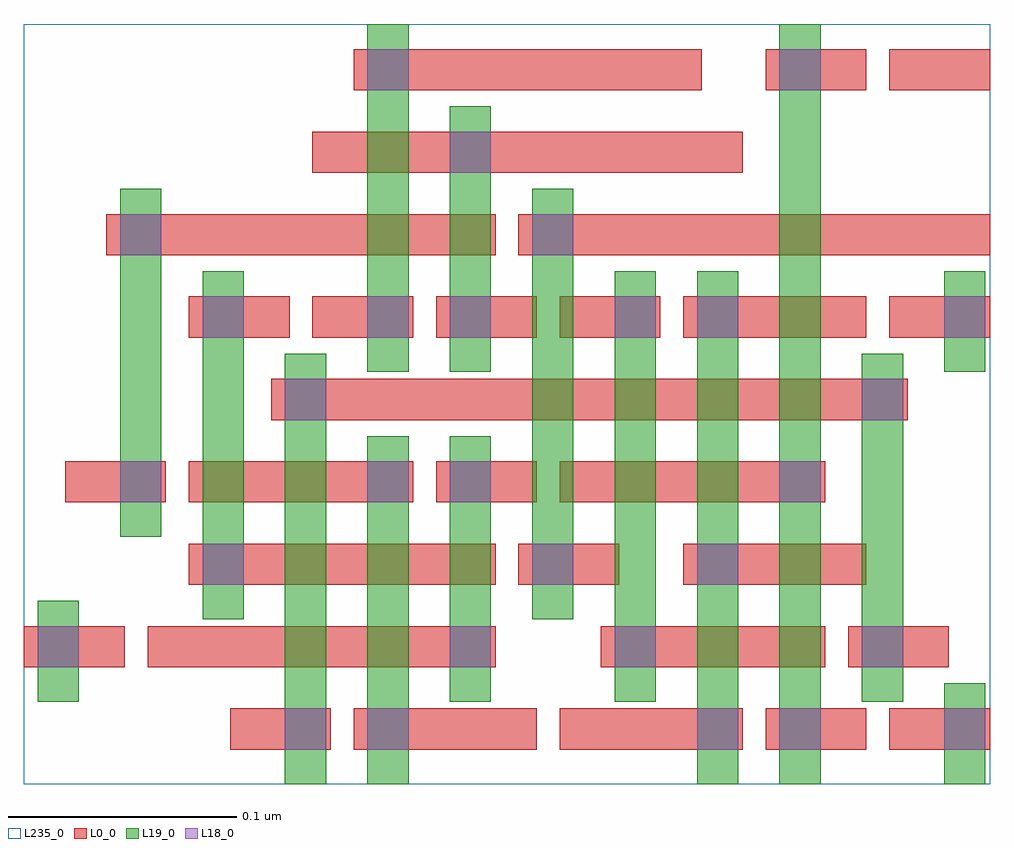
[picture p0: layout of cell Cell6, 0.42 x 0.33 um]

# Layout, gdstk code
import gdstk
lib = gdstk.Library(unit=1e-6, precision=2.5e-10)
def R(c, l, rs):  # rectangles x0, y0, x1, y1
    for r in rs: c.add(gdstk.rectangle(r[:2], r[2:], *l))
def A(c, l, x, y, w, h, nx, ny, dx, dy):  # array of equal rectangles
    R(c, l, [(x+i*dx, y+j*dy, x+i*dx+w, y+j*dy+h) for i in range(nx) for j in range(ny)])
L0_0 = (0, 0)
L18_0 = (18, 0)
L19_0 = (19, 0)
L235_0 = (235, 0)

cell6 = lib.new_cell('Cell6')
A(cell6, L0_0, 0.076, 0.179, 0.044, 0.018, 4, 1, 0.054, 0)
R(cell6, L0_0, [(0.094,-0.001,0.138,0.017), (0.148,-0.001,0.228,0.017), (0.238,-0.001,0.318,0.017), (0.328,-0.001,0.372,0.017), (0.382,-0.001,0.426,0.017), (0.004,0.035,0.048,0.053), (0.058,0.035,0.21,0.053), (0.256,0.035,0.354,0.053), (0.364,0.035,0.408,0.053), (0.076,0.071,0.21,0.089), (0.22,0.071,0.264,0.089), (0.292,0.071,0.372,0.089), (0.022,0.107,0.066,0.125), (0.076,0.107,0.174,0.125), (0.184,0.107,0.228,0.125), (0.238,0.107,0.354,0.125), (0.112,0.143,0.39,0.161), (0.292,0.179,0.372,0.197), (0.382,0.179,0.426,0.197), (0.04,0.215,0.21,0.233), (0.22,0.215,0.426,0.233), (0.13,0.251,0.318,0.269), (0.148,0.287,0.3,0.305), (0.328,0.287,0.372,0.305), (0.382,0.287,0.426,0.305)])
A(cell6, L18_0, 0.19, 0.035, 0.018, 0.018, 1, 4, 0, 0.072)
R(cell6, L18_0, [(0.118,-0.001,0.136,0.017), (0.154,-0.001,0.172,0.017), (0.298,-0.001,0.316,0.017), (0.334,-0.001,0.352,0.017), (0.406,-0.001,0.424,0.017), (0.01,0.035,0.028,0.053), (0.262,0.035,0.28,0.053), (0.37,0.035,0.388,0.053), (0.082,0.071,0.1,0.089), (0.226,0.071,0.244,0.089), (0.298,0.071,0.316,0.089), (0.046,0.107,0.064,0.125), (0.154,0.107,0.172,0.125), (0.334,0.107,0.352,0.125), (0.118,0.143,0.136,0.161), (0.37,0.143,0.388,0.161), (0.082,0.179,0.1,0.197), (0.154,0.179,0.172,0.197), (0.262,0.179,0.28,0.197), (0.298,0.179,0.316,0.197), (0.406,0.179,0.424,0.197), (0.046,0.215,0.064,0.233), (0.226,0.215,0.244,0.233), (0.154,0.287,0.172,0.305), (0.334,0.287,0.352,0.305)])
R(cell6, L19_0, [(0.118,-0.016,0.136,0.172), (0.154,-0.016,0.172,0.136), (0.298,-0.016,0.316,0.208), (0.334,-0.016,0.352,0.316), (0.406,-0.016,0.424,0.028), (0.01,0.02,0.028,0.064), (0.19,0.02,0.208,0.136), (0.262,0.02,0.28,0.208), (0.37,0.02,0.388,0.172), (0.082,0.056,0.1,0.208), (0.226,0.056,0.244,0.244), (0.046,0.092,0.064,0.244), (0.154,0.164,0.172,0.316), (0.19,0.164,0.208,0.28), (0.406,0.164,0.424,0.208)])
R(cell6, L235_0, [(0.004,-0.016,0.426,0.316)])

lib.write_gds('Cell6.gds')
